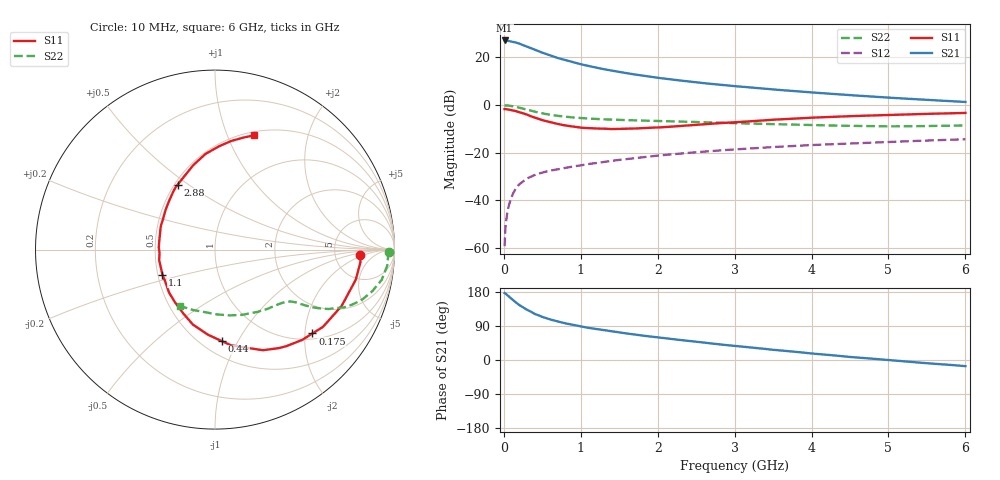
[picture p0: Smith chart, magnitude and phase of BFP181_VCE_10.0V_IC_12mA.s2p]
! (c) 2016  Infineon Technologies AG, Munich
! Infineon Technologies  Discrete & RF Semiconductors
! BFP181
! VCE = 10.0V,  IC =  12 mA
! Common Emitter S-Parameters:  Jan 2016
# GHz  S  MA  R  50
!  f  S11  S21  S12  S22
! GHz  MAG  ANG  MAG  ANG  MAG  ANG  MAG  ANG
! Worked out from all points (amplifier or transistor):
!   210 points, 10 MHz to 6 GHz, reference 50 ohm
!   highest |S21| = 26.9 dB at 10 MHz (marker M1)
!   |S21| within 3 dB of that: start of sweep to 334.7 MHz
!   unconditionally stable (mu >= 1): 1.288 GHz to end of sweep
!   at 185 MHz: K = 0.27, MSG = 29.8 dB, |S12| = -33.9 dB
!   at 1.52 GHz: K = 1.05, MAG = 17.0 dB, |S12| = -23.0 dB
!   at 6 GHz: K = 1.04, MAG = 6.6 dB, |S12| = -14.4 dB
!   S11 on the Smith chart (normalised r, x): 10 MHz: 9.19, -1.74; 175 MHz: 1.14, -2.19; 440 MHz: 0.62, -0.86; 1.1 GHz: 0.53, -0.16; 2.88 GHz: 0.52, +0.46; 6 GHz: 0.54, +1.25
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0.01  0.81 -2.3  22.09 176.6  0.0011 71.2  0.9701 -0.7
0.02  0.8134 -4.9  21.92 175.6  0.0026 73.6  0.9654 -1.9
0.05  0.8021 -12.0  21.79 170.3  0.0061 85.7  0.964 -5.3
0.15  0.7397 -35.6  20.11 152.8  0.0172 70.7  0.9076 -14.7
0.175  0.7163 -40.7  19.52 149.1  0.0194 69.0  0.8871 -16.6
0.2  0.699 -46.1  19.02 145.2  0.0216 67.6  0.8676 -18.6
0.24  0.6691 -53.5  17.85 139.8  0.0242 63.8  0.8337 -21.1
0.3  0.6211 -64.5  16.47 132.7  0.0286 60.2  0.7874 -24.1
0.4  0.5406 -80.5  14.24 121.7  0.0338 56.1  0.7146 -27.6
0.44  0.5113 -85.7  13.42 118.8  0.0355 54.8  0.6921 -28.4
0.52  0.4667 -96.8  11.96 112.5  0.0388 52.8  0.6504 -29.9
0.7  0.3964 -116.7  9.499 101.6  0.0445 50.8  0.5849 -31.9
0.82  0.3638 -129.2  8.41 95.9  0.0484 50.5  0.5571 -32.6
1.02  0.3294 -147.5  6.919 87.8  0.0546 49.8  0.5231 -33.8
1.1  0.3242 -154.6  6.493 84.8  0.0575 49.7  0.5133 -34.3
1.5  0.3135 177.8  4.858 72.7  0.0701 48.7  0.4817 -37.7
2.02  0.335 150.0  3.626 59.3  0.0868 46.5  0.4562 -43.6
2.88  0.4177 119.8  2.552 39.7  0.1126 40.7  0.4178 -56.4
3.1  0.439 113.6  2.372 35.3  0.1188 39.0  0.4076 -60.0
4.1  0.5429 94.0  1.761 15.5  0.1455 30.8  0.3718 -79.4
5.1  0.6174 80.4  1.377 -1.7  0.1683 23.5  0.3531 -101.4
6  0.6733 71.1  1.143 -16.2  0.1897 16.5  0.3692 -121.8
